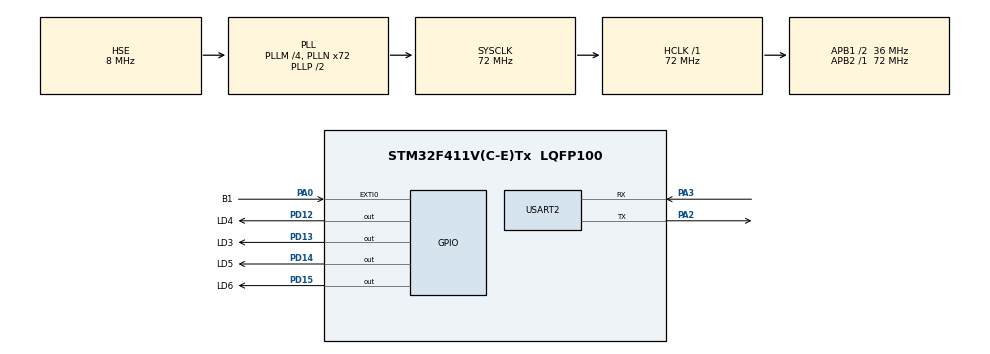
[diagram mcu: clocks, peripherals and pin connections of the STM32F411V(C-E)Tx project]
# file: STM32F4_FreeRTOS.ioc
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Dma.Request0=USART2_RX
Dma.USART2_RX.0.Direction=DMA_PERIPH_TO_MEMORY
Dma.USART2_RX.0.FIFOMode=DMA_FIFOMODE_DISABLE
Dma.USART2_RX.0.Instance=DMA1_Stream5
Dma.USART2_RX.0.MemDataAlignment=DMA_MDATAALIGN_BYTE
Dma.USART2_RX.0.MemInc=DMA_MINC_ENABLE
Dma.USART2_RX.0.Mode=DMA_NORMAL
Dma.USART2_RX.0.PeriphDataAlignment=DMA_PDATAALIGN_BYTE
Dma.USART2_RX.0.PeriphInc=DMA_PINC_DISABLE
Dma.USART2_RX.0.Priority=DMA_PRIORITY_MEDIUM
FREERTOS.Tasks01=defaultTask,24,128,StartDefaultTask,Default,NULL,Dynamic,NULL,NULL
FREERTOS.configENABLE_FPU=1
Mcu.Family=STM32F4
Mcu.Name=STM32F411V(C-E)Tx
Mcu.Package=LQFP100
Mcu.UserConstants=DEBOUNCE_COUNT,50000
NVIC.DMA1_Stream5_IRQn=true\:5\:0\:false\:false\:true\:true\:false\:true\:true
NVIC.EXTI0_IRQn=true\:5\:0\:false\:false\:true\:true\:true\:true\:true
NVIC.PriorityGroup=NVIC_PRIORITYGROUP_4
NVIC.TIM1_TRG_COM_TIM11_IRQn=true\:5\:0\:false\:false\:true\:true\:true\:true\:true
NVIC.USART2_IRQn=true\:5\:0\:false\:false\:true\:true\:true\:true\:true
PA0-WKUP.GPIO_Label=B1
PA0-WKUP.GPIO_ModeDefaultEXTI=GPIO_MODE_IT_RISING_FALLING
PA0-WKUP.GPIO_PuPd=GPIO_NOPULL
PA0-WKUP.Signal=GPXTI0
PA2.Mode=Asynchronous
PA2.Signal=USART2_TX
PA3.Mode=Asynchronous
PA3.Signal=USART2_RX
PD12.GPIO_Label=LD4
PD12.PinState=GPIO_PIN_SET
PD12.Signal=GPIO_Output
PD13.GPIO_Label=LD3
PD13.Signal=GPIO_Output
PD14.GPIO_Label=LD5
PD14.Signal=GPIO_Output
PD15.GPIO_Label=LD6
PD15.Signal=GPIO_Output
PH0\ -\ OSC_IN.Mode=HSE-External-Oscillator
PH0\ -\ OSC_IN.Signal=RCC_OSC_IN
PH1\ -\ OSC_OUT.Mode=HSE-External-Oscillator
PH1\ -\ OSC_OUT.Signal=RCC_OSC_OUT
ProjectManager.HeapSize=0x200
ProjectManager.StackSize=0x400
ProjectManager.TargetToolchain=MDK-ARM V5.32
RCC.48MHZClocksFreq_Value=36000000
RCC.AHBFreq_Value=72000000
RCC.APB1CLKDivider=RCC_HCLK_DIV2
RCC.APB1Freq_Value=36000000
RCC.APB1TimFreq_Value=72000000
RCC.APB2Freq_Value=72000000
RCC.APB2TimFreq_Value=72000000
RCC.CortexFreq_Value=72000000
RCC.HCLKFreq_Value=72000000
RCC.HSE_VALUE=8000000
RCC.HSI_VALUE=16000000
RCC.LSE_VALUE=32768
RCC.PLLM=4
RCC.PLLN=72
RCC.PLLSourceVirtual=RCC_PLLSOURCE_HSE
RCC.SYSCLKFreq_VALUE=72000000
RCC.SYSCLKSource=RCC_SYSCLKSOURCE_PLLCLK
RCC.VCOOutputFreq_Value=144000000
TIM11.Period=DEBOUNCE_COUNT-1
TIM11.Prescaler=72-1
USART2.VirtualMode=VM_ASYNC
VP_FREERTOS_VS_CMSIS_V2.Mode=CMSIS_V2
VP_TIM11_VS_ClockSourceINT.Mode=Enable_Timer
board=custom

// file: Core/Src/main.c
/* USER CODE BEGIN Header */
/**
  ******************************************************************************
  * @file           : main.c
  * @brief          : Main program body
  ******************************************************************************
  * @attention
  *
  * Copyright (c) 2025 STMicroelectronics.
  * All rights reserved.
  *
  * This software is licensed under terms that can be found in the LICENSE file
  * in the root directory of this software component.
  * If no LICENSE file comes with this software, it is provided AS-IS.
  *
  ******************************************************************************
  */
/* USER CODE END Header */
#include "main.h"
#include "cmsis_os.h"

/* USER CODE BEGIN Includes */
#include "stdio.h"
#include "string.h"
/* USER CODE END Includes */

/* USER CODE BEGIN PD */

#define QUEUE_LEN     4
#define QUEUE_SIZE    4

#define USART_RBUFF_SIZE    1000

/* USER CODE END PD */

TIM_HandleTypeDef htim11;

UART_HandleTypeDef huart2;
DMA_HandleTypeDef hdma_usart2_rx;

/* Definitions for defaultTask */
osThreadId_t defaultTaskHandle;
const osThreadAttr_t defaultTask_attributes = {
  .name = "defaultTask",
  .stack_size = 128 * 4,
  .priority = (osPriority_t) osPriorityNormal,
};
/* USER CODE BEGIN PV */
osThreadId_t LED_Task_Handle;
const osThreadAttr_t LED_Task_attributes = {
  .name = "LEDTask",
  .stack_size = 128*4,
  .priority = (osPriority_t) osPriorityNormal,
};

osThreadId_t Receive_Task_Handle;
const osThreadAttr_t Receive_Task_attributes = {
  .name = "ReceiveTask",
  .stack_size = 128*4,
  .priority = (osPriority_t) osPriorityNormal,
};

uint8_t Usart_RX_Buf[USART_RBUFF_SIZE];

osMessageQueueId_t Test_Queue = NULL;
osSemaphoreId_t BinarySem_Handle = NULL;

static uint32_t new_btn_event;

/* USER CODE END PV */

void SystemClock_Config(void);
static void MX_GPIO_Init(void);
static void MX_DMA_Init(void);
static void MX_USART2_UART_Init(void);
static void MX_TIM11_Init(void);
void StartDefaultTask(void *argument);

/* USER CODE BEGIN PFP */
static void AppCreateTask( void *parameter );
static void LED_Task( void *parameter );
static void Receive_Task( void *parameter );
/* USER CODE END PFP */

/* USER CODE BEGIN 0 */

static void LED_Task(void* parameter)
{
    osStatus_t xReturn;
    uint32_t r_queue;

    while(1)
    {
        xReturn = osMessageQueueGet( Test_Queue, &r_queue , NULL, osWaitForever);

        if( xReturn == osOK)
        {
            if ( r_queue == KEY_DOWN_EVENT )
            {
                printf("Got Key down event. \r\n");

                HAL_GPIO_WritePin ( GPIOD, LD3_Pin, 1);
                HAL_GPIO_WritePin ( GPIOD, LD4_Pin, 0);
            }
            else if( r_queue == KEY_UP_EVENT )
            {
                printf("Got Key up event. \r\n");

                HAL_GPIO_WritePin ( GPIOD, LD3_Pin, 0);
                HAL_GPIO_WritePin ( GPIOD, LD4_Pin, 1);
            }
        }
        else
        {
            printf("osMessageQueueGet failed. error:%d \r\n", xReturn);
        }
    }
}

static void Receive_Task(void* parameter)
{
    osStatus xReturn;

    while(1)
    {
        xReturn = osSemaphoreAcquire( BinarySem_Handle, osWaitForever );

        if( xReturn == osOK )
        {
            printf("Got message:%s. \r\n", Usart_RX_Buf);
            memset( Usart_RX_Buf, 0 , USART_RBUFF_SIZE);
        }
    }
}

/* USER CODE END 0 */

int main(void)
{

  /* MCU Configuration--------------------------------------------------------*/

  /* Reset of all peripherals, Initializes the Flash interface and the Systick. */
  HAL_Init();

  /* Configure the system clock */
  SystemClock_Config();

  /* Initialize all configured peripherals */
  MX_GPIO_Init();
  MX_DMA_Init();
  MX_USART2_UART_Init();
  MX_TIM11_Init();
  /* USER CODE BEGIN 2 */
  printf("STM32F4_FreeRTOS: System Init successfully. \r\n");
  /* USER CODE END 2 */

  /* Init scheduler */
  osKernelInitialize();

  /* USER CODE BEGIN RTOS_MUTEX */
  /* add mutexes, ... */
  printf("STM32F4_FreeRTOS: Scheduler Init successfully. \r\n");
  /* USER CODE END RTOS_MUTEX */

  /* Create the thread(s) */
  /* creation of defaultTask */
  defaultTaskHandle = osThreadNew(StartDefaultTask, NULL, &defaultTask_attributes);

  /* Start scheduler */
  osKernelStart();

  /* We should never get here as control is now taken by the scheduler */

  /* Infinite loop */
  while (1)
  {

  }
}

void SystemClock_Config(void)
{
  RCC_OscInitTypeDef RCC_OscInitStruct = {0};
  RCC_ClkInitTypeDef RCC_ClkInitStruct = {0};

  /** Configure the main internal regulator output voltage
  */
  __HAL_RCC_PWR_CLK_ENABLE();
  __HAL_PWR_VOLTAGESCALING_CONFIG(PWR_REGULATOR_VOLTAGE_SCALE1);

  /** Initializes the RCC Oscillators according to the specified parameters
  * in the RCC_OscInitTypeDef structure.
  */
  RCC_OscInitStruct.OscillatorType = RCC_OSCILLATORTYPE_HSE;
  RCC_OscInitStruct.HSEState = RCC_HSE_ON;
  RCC_OscInitStruct.PLL.PLLState = RCC_PLL_ON;
  RCC_OscInitStruct.PLL.PLLSource = RCC_PLLSOURCE_HSE;
  RCC_OscInitStruct.PLL.PLLM = 4;
  RCC_OscInitStruct.PLL.PLLN = 72;
  RCC_OscInitStruct.PLL.PLLP = RCC_PLLP_DIV2;
  RCC_OscInitStruct.PLL.PLLQ = 4;
  if (HAL_RCC_OscConfig(&RCC_OscInitStruct) != HAL_OK)
  {
    Error_Handler();
  }

  /** Initializes the CPU, AHB and APB buses clocks
  */
  RCC_ClkInitStruct.ClockType = RCC_CLOCKTYPE_HCLK|RCC_CLOCKTYPE_SYSCLK
                              |RCC_CLOCKTYPE_PCLK1|RCC_CLOCKTYPE_PCLK2;
  RCC_ClkInitStruct.SYSCLKSource = RCC_SYSCLKSOURCE_PLLCLK;
  RCC_ClkInitStruct.AHBCLKDivider = RCC_SYSCLK_DIV1;
  RCC_ClkInitStruct.APB1CLKDivider = RCC_HCLK_DIV2;
  RCC_ClkInitStruct.APB2CLKDivider = RCC_HCLK_DIV1;

  if (HAL_RCC_ClockConfig(&RCC_ClkInitStruct, FLASH_LATENCY_2) != HAL_OK)
  {
    Error_Handler();
  }
}

static void MX_TIM11_Init(void)
{

  htim11.Instance = TIM11;
  htim11.Init.Prescaler = 72-1;
  htim11.Init.CounterMode = TIM_COUNTERMODE_UP;
  htim11.Init.Period = DEBOUNCE_COUNT-1;
  htim11.Init.ClockDivision = TIM_CLOCKDIVISION_DIV1;
  htim11.Init.AutoReloadPreload = TIM_AUTORELOAD_PRELOAD_DISABLE;
  if (HAL_TIM_Base_Init(&htim11) != HAL_OK)
  {
    Error_Handler();
  }

}

static void MX_USART2_UART_Init(void)
{

  huart2.Instance = USART2;
  huart2.Init.BaudRate = 115200;
  huart2.Init.WordLength = UART_WORDLENGTH_8B;
  huart2.Init.StopBits = UART_STOPBITS_1;
  huart2.Init.Parity = UART_PARITY_NONE;
  huart2.Init.Mode = UART_MODE_TX_RX;
  huart2.Init.HwFlowCtl = UART_HWCONTROL_NONE;
  huart2.Init.OverSampling = UART_OVERSAMPLING_16;
  if (HAL_UART_Init(&huart2) != HAL_OK)
  {
    Error_Handler();
  }

}

static void MX_DMA_Init(void)
{

  /* DMA controller clock enable */
  __HAL_RCC_DMA1_CLK_ENABLE();

  /* DMA interrupt init */
  /* DMA1_Stream5_IRQn interrupt configuration */
  HAL_NVIC_SetPriority(DMA1_Stream5_IRQn, 5, 0);
  HAL_NVIC_EnableIRQ(DMA1_Stream5_IRQn);

}

static void MX_GPIO_Init(void)
{
  GPIO_InitTypeDef GPIO_InitStruct = {0};

  /* GPIO Ports Clock Enable */
  __HAL_RCC_GPIOH_CLK_ENABLE();
  __HAL_RCC_GPIOA_CLK_ENABLE();
  __HAL_RCC_GPIOD_CLK_ENABLE();

  /*Configure GPIO pin Output Level */
  HAL_GPIO_WritePin(LD4_GPIO_Port, LD4_Pin, GPIO_PIN_SET);

  /*Configure GPIO pin Output Level */
  HAL_GPIO_WritePin(GPIOD, LD3_Pin|LD5_Pin|LD6_Pin, GPIO_PIN_RESET);

  /*Configure GPIO pin : B1_Pin */
  GPIO_InitStruct.Pin = B1_Pin;
  GPIO_InitStruct.Mode = GPIO_MODE_IT_RISING_FALLING;
  GPIO_InitStruct.Pull = GPIO_NOPULL;
  HAL_GPIO_Init(B1_GPIO_Port, &GPIO_InitStruct);

  /*Configure GPIO pins : LD4_Pin LD3_Pin LD5_Pin LD6_Pin */
  GPIO_InitStruct.Pin = LD4_Pin|LD3_Pin|LD5_Pin|LD6_Pin;
  GPIO_InitStruct.Mode = GPIO_MODE_OUTPUT_PP;
  GPIO_InitStruct.Pull = GPIO_NOPULL;
  GPIO_InitStruct.Speed = GPIO_SPEED_FREQ_LOW;
  HAL_GPIO_Init(GPIOD, &GPIO_InitStruct);

  /* EXTI interrupt init*/
  HAL_NVIC_SetPriority(EXTI0_IRQn, 5, 0);
  HAL_NVIC_EnableIRQ(EXTI0_IRQn);

}

/* USER CODE BEGIN 4 */
int fputc(int ch, FILE* f)
{
    while( huart2.gState != HAL_UART_STATE_READY)
    {
        osDelay(1);
    }

    HAL_UART_Transmit( &huart2, ( uint8_t* ) &ch, 1, 0xffff);
    return ch;
}

void HAL_TIM_PeriodElapsedCallback(TIM_HandleTypeDef *htim)
{
    if( htim->Instance == TIM11 )
    {
        HAL_TIM_Base_Stop_IT( &htim11 );
        __HAL_TIM_SET_COUNTER( &htim11, 0);

        osMessageQueuePut( Test_Queue, &new_btn_event, 0 , 0);
    }
}

void HAL_GPIO_EXTI_Callback(uint16_t GPIO_Pin)
{
    uint32_t ulMessage;

    if( GPIO_Pin == B1_Pin )
    {
        __HAL_TIM_SET_COUNTER( &htim11, 0);
        HAL_TIM_Base_Start_IT( &htim11 );

        GPIO_PinState pin_state = HAL_GPIO_ReadPin( B1_GPIO_Port, B1_Pin);

        if( pin_state == GPIO_PIN_SET )
        {
            new_btn_event = KEY_DOWN_EVENT;
        }
        else
        {
            new_btn_event = KEY_UP_EVENT;
        }
    }
}

void HAL_UARTEx_RxEventCallback(UART_HandleTypeDef *huart, uint16_t Size)
{
    uint32_t ulReturn;

    if( huart == &huart2 )
    {
        ulReturn = taskENTER_CRITICAL_FROM_ISR();

        osSemaphoreRelease( BinarySem_Handle );

        HAL_UARTEx_ReceiveToIdle_DMA( &huart2, Usart_RX_Buf, USART_RBUFF_SIZE);

        taskEXIT_CRITICAL_FROM_ISR(ulReturn);
    }
}

/* USER CODE END 4 */

void StartDefaultTask(void *argument)
{
  /* USER CODE BEGIN 5 */
  /* Infinite loop */
  //for(;;)
  //{

    osStatus_t xReturn;

    taskENTER_CRITICAL();

    Test_Queue = osMessageQueueNew( QUEUE_SIZE, QUEUE_LEN, NULL);

    if( Test_Queue != NULL )
    {
        printf("Create Test_Queue successfully. \r\n");
    }

    BinarySem_Handle = osSemaphoreNew( 1 , 0, NULL);

    if( BinarySem_Handle != NULL )
    {
        printf("Create BinarySem_Handle successfully. \r\n");
    }

    memset( Usart_RX_Buf, 0 , USART_RBUFF_SIZE);
    HAL_UARTEx_ReceiveToIdle_DMA( &huart2, Usart_RX_Buf, USART_RBUFF_SIZE);

    LED_Task_Handle = osThreadNew(LED_Task, NULL, &LED_Task_attributes);
    if( LED_Task_Handle != NULL )
    {
        printf("Create LED_Task successfully. \r\n");
    }

    Receive_Task_Handle = osThreadNew(Receive_Task, NULL, &Receive_Task_attributes);
    if( Receive_Task_Handle != NULL )
    {
        printf("Create Receive_Task successfully. \r\n");
    }

    vTaskDelete( defaultTaskHandle );

    taskEXIT_CRITICAL();
  //}
  /* USER CODE END 5 */
}

void Error_Handler(void)
{
  __disable_irq();
  while (1)
  {
  }
}
